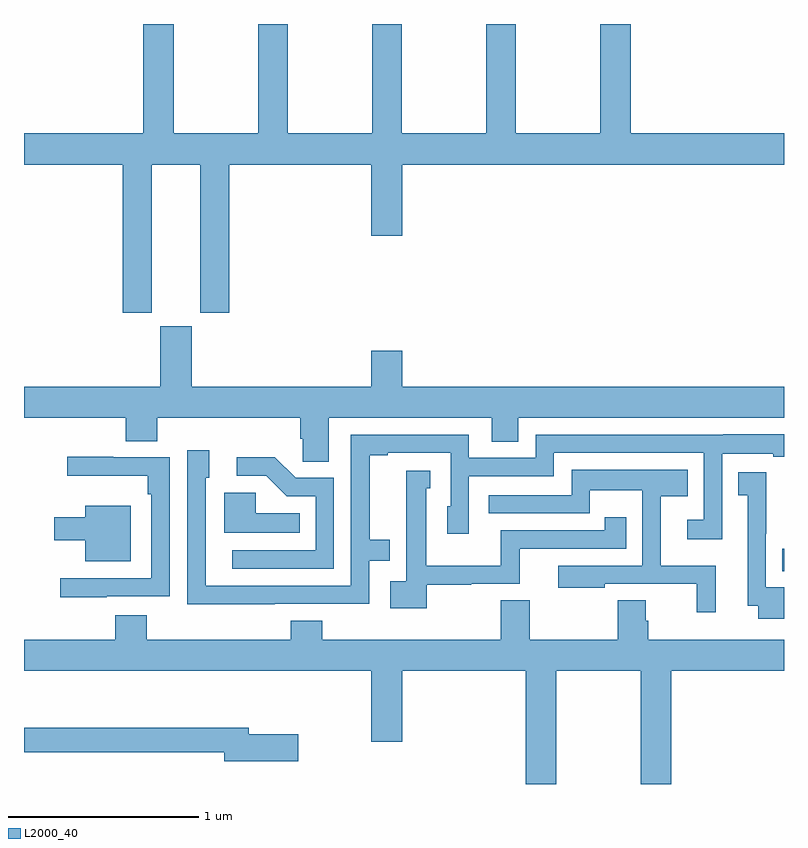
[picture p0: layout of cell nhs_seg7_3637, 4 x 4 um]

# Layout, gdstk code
import gdstk
lib = gdstk.Library(unit=1e-6, precision=1e-09)
def R(c, l, rs):  # rectangles x0, y0, x1, y1
    for r in rs: c.add(gdstk.rectangle(r[:2], r[2:], *l))
def P(c, l, *ps):  # polygons
    for p in ps: c.add(gdstk.Polygon(p, *l))
L2000_40 = (2000, 40)

nhs_seg7_3637 = lib.new_cell('nhs_seg7_3637')
R(nhs_seg7_3637, L2000_40, [(346.99,1021.12,347,1021.239)])
P(nhs_seg7_3637, L2000_40, [(343.672,1023.26),(343.928,1023.26),(343.928,1022.481),(344.081,1022.481),(344.081,1023.26),(344.828,1023.26),(344.828,1022.886),(344.992,1022.886),(344.992,1023.26),(347,1023.26),(347,1023.424),(346.193,1023.424),(346.193,1024),(346.033,1024),(346.033,1023.424),(345.588,1023.424),(345.588,1024),(345.433,1024),(345.433,1023.424),(344.988,1023.424),(344.988,1024),(344.833,1024),(344.833,1023.424),(344.388,1023.424),(344.388,1024),(344.233,1024),(344.233,1023.424),(343.788,1023.424),(343.788,1024),(343.628,1024),(343.628,1023.424),(343,1023.424),(343,1023.26),(343.52,1023.26),(343.52,1022.481),(343.672,1022.481)],
  [(344.605,1021.928),(345.461,1021.928),(345.461,1021.801),(345.601,1021.801),(345.601,1021.928),(347,1021.928),(347,1022.092),(344.992,1022.092),(344.992,1022.281),(344.828,1022.281),(344.828,1022.092),(343.882,1022.092),(343.882,1022.409),(343.718,1022.409),(343.718,1022.092),(343,1022.092),(343,1021.928),(343.535,1021.928),(343.535,1021.804),(343.7,1021.804),(343.7,1021.928),(344.453,1021.928),(344.453,1021.816),(344.467,1021.816),(344.467,1021.696),(344.605,1021.696)],
  [(344.321,1020.948),(344.817,1020.948),(344.817,1021.176),(344.926,1021.176),(344.926,1021.285),(344.819,1021.285),(344.819,1021.731),(344.914,1021.731),(344.914,1021.743),(345.246,1021.743),(345.246,1021.461),(345.227,1021.461),(345.227,1021.317),(345.342,1021.317),(345.342,1021.62),(345.789,1021.62),(345.789,1021.743),(346.578,1021.743),(346.578,1021.39),(346.491,1021.39),(346.491,1021.289),(346.674,1021.289),(346.674,1021.739),(346.943,1021.739),(346.943,1021.722),(347,1021.722),(347,1021.84),(346.681,1021.84),(346.681,1021.839),(345.693,1021.839),(345.693,1021.716),(345.342,1021.716),(345.342,1021.839),(344.721,1021.839),(344.721,1021.044),(343.957,1021.044),(343.957,1021.271),(343.956,1021.271),(343.956,1021.611),(343.975,1021.611),(343.975,1021.756),(343.86,1021.756),(343.86,1020.947),(344.321,1020.947)],
  [(343.435,1020.987),(343.767,1020.987),(343.767,1021.719),(343.471,1021.719),(343.471,1021.723),(343.227,1021.723),(343.227,1021.622),(343.651,1021.622),(343.651,1021.526),(343.671,1021.526),(343.671,1021.083),(343.191,1021.083),(343.191,1020.983),(343.435,1020.983)],
  [(344.631,1021.611),(344.43,1021.611),(344.32,1021.721),(344.121,1021.721),(344.121,1021.623),(344.276,1021.623),(344.384,1021.515),(344.535,1021.515),(344.535,1021.23),(344.097,1021.23),(344.097,1021.134),(344.631,1021.134)],
  [(346.642,1021.15),(346.351,1021.15),(346.351,1021.514),(346.493,1021.514),(346.493,1021.654),(345.882,1021.654),(345.882,1021.521),(345.447,1021.521),(345.447,1021.425),(345.875,1021.425),(345.875,1021.426),(345.978,1021.426),(345.978,1021.547),(346.254,1021.547),(346.254,1021.149),(345.813,1021.149),(345.813,1021.034),(346.057,1021.034),(346.057,1021.053),(346.54,1021.053),(346.54,1020.903),(346.642,1020.903)],
  [(345.121,1021.048),(345.354,1021.048),(345.354,1021.053),(345.608,1021.053),(345.608,1021.239),(346.169,1021.239),(346.169,1021.405),(346.056,1021.405),(346.056,1021.335),(345.509,1021.335),(345.509,1021.15),(345.118,1021.15),(345.118,1021.557),(345.139,1021.557),(345.139,1021.65),(345.011,1021.65),(345.011,1021.162),(345.012,1021.162),(345.012,1021.066),(344.928,1021.066),(344.928,1020.926),(345.121,1020.926)],
  [(347,1021.035),(346.905,1021.035),(346.905,1021.318),(346.906,1021.318),(346.906,1021.642),(346.759,1021.642),(346.759,1021.521),(346.808,1021.521),(346.808,1020.939),(346.865,1020.939),(346.865,1020.869),(347,1020.869)],
  [(344.45,1021.426),(344.22,1021.426),(344.22,1021.534),(344.054,1021.534),(344.054,1021.322),(344.45,1021.322)],
  [(343.561,1021.465),(343.322,1021.465),(343.322,1021.405),(343.158,1021.405),(343.158,1021.283),(343.322,1021.283),(343.322,1021.172),(343.561,1021.172)],
  [(344.405,1020.859),(344.405,1020.76),(343.646,1020.76),(343.646,1020.889),(343.481,1020.889),(343.481,1020.76),(343,1020.76),(343,1020.596),(344.828,1020.596),(344.828,1020.222),(344.992,1020.222),(344.992,1020.596),(345.641,1020.596),(345.641,1020),(345.801,1020),(345.801,1020.596),(346.246,1020.596),(346.246,1020),(346.406,1020),(346.406,1020.596),(347,1020.596),(347,1020.76),(346.286,1020.76),(346.286,1020.858),(346.273,1020.858),(346.273,1020.968),(346.126,1020.968),(346.126,1020.76),(345.663,1020.76),(345.663,1020.968),(345.508,1020.968),(345.508,1020.76),(344.57,1020.76),(344.57,1020.859)],
  [(344.443,1020.261),(344.182,1020.261),(344.182,1020.295),(343,1020.295),(343,1020.166),(344.054,1020.166),(344.054,1020.119),(344.443,1020.119)])

lib.write_gds('nhs_seg7_3637.gds')
